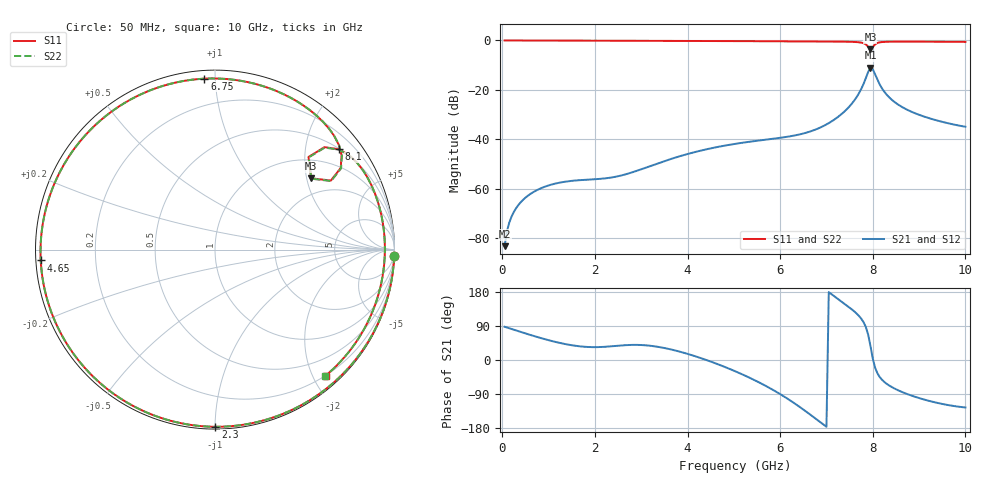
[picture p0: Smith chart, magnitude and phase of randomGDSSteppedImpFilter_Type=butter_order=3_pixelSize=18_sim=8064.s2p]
! freq	dB(S11)	phase(S11)	dB(S12)	phase(S12)
!  dB(S21)	phase(S21)	dB(S22)	phase(S22)
!S-par simulation data
#  GHz  S  DB  R 50
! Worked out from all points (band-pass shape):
!   200 points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, 50 MHz to 10 GHz, reference 50 ohm
!   highest |S21| = -11.06 dB at 7.95 GHz (marker M1); lowest = -83.3 dB at 50 MHz (marker M2)
!   |S21| within 3 dB of the highest: 7.874 GHz to 8.057 GHz (183.4 MHz wide, 2.3 % of centre)
!   lowest |S11| = -3.5 dB at 7.95 GHz (marker M3), VSWR 5.00, Z = 74.3 + j106 ohm
!   |S11| at or under -10 dB: nowhere
!   |S22| runs from -3.5 to 0.0 dB; largest |S21 - S12| = 0
!   S11 on the Smith chart (normalised r, x): 50 MHz: 1, -56; 2.3 GHz: 0.01, -1.00; 4.65 GHz: 0.01, -0.03; 6.75 GHz: 0.04, +0.94; 8.1 GHz: 0.51, +2.75; 10 GHz: 0.20, -2.20
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0.05  -0.01 -2.1  -83.29 87.7  -83.29 87.7  -0.01 -2.1
0.25  -0.01 -10.1  -69.40 79.9  -69.40 79.9  -0.01 -10.1
0.55  -0.03 -22.2  -62.90 68.2  -62.90 68.2  -0.03 -22.2
1.05  -0.05 -42.1  -58.41 50.7  -58.41 50.7  -0.05 -42.1
1.75  -0.09 -69.2  -56.46 35.2  -56.46 35.2  -0.09 -69.2
2.3  -0.11 -89.8  -55.65 35.6  -55.65 35.6  -0.11 -89.9
3.4  -0.16 -130.1  -49.50 33.9  -49.50 33.9  -0.16 -130.1
4.05  -0.20 -153.9  -45.72 14.3  -45.72 14.3  -0.20 -153.9
4.65  -0.24 -176.4  -43.12 -10.9  -43.12 -10.9  -0.24 -176.5
5.05  -0.27 168.0  -41.80 -30.8  -41.80 -30.8  -0.27 167.9
5.85  -0.33 134.7  -39.80 -79.2  -39.80 -79.2  -0.33 134.6
6.7  -0.40 95.9  -36.53 -148.7  -36.53 -148.7  -0.40 95.7
6.75  -0.41 93.5  -36.18 -153.2  -36.18 -153.2  -0.41 93.3
7.15  -0.45 73.8  -32.30 170.0  -32.30 170.0  -0.45 73.6
7.5  -0.54 55.6  -26.63 138.2  -26.63 138.2  -0.54 55.4
7.8  -1.11 36.8  -17.63 100.0  -17.63 100.0  -1.11 36.5
7.95  -3.52 36.6  -11.06 36.9  -11.06 36.9  -3.52 36.3
8  -2.70 44.7  -11.65 3.8  -11.65 3.8  -2.70 44.5
8.1  -1.02 38.9  -15.94 -34.9  -15.94 -34.9  -1.02 38.7
8.35  -0.51 22.2  -22.95 -67.0  -22.95 -67.0  -0.51 22.0
9.05  -0.49 -11.2  -30.45 -102.3  -30.45 -102.3  -0.49 -11.4
10  -0.59 -48.7  -34.94 -125.3  -34.94 -125.3  -0.59 -48.9
